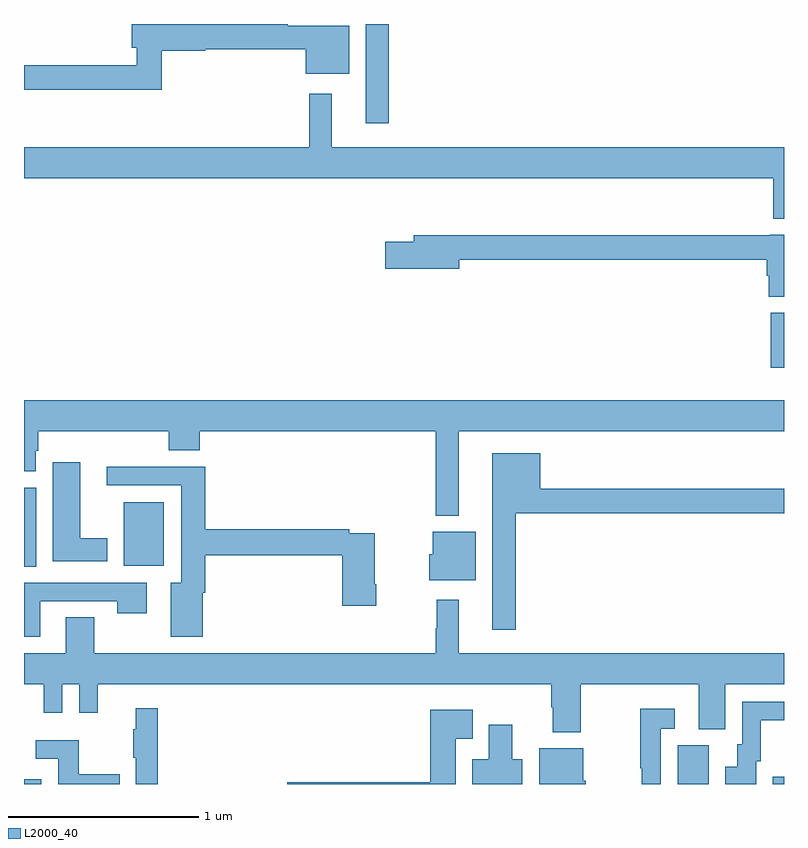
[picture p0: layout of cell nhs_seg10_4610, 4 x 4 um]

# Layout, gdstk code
import gdstk
lib = gdstk.Library(unit=1e-6, precision=1e-09)
def R(c, l, rs):  # rectangles x0, y0, x1, y1
    for r in rs: c.add(gdstk.rectangle(r[:2], r[2:], *l))
def P(c, l, *ps):  # polygons
    for p in ps: c.add(gdstk.Polygon(p, *l))
L2000_40 = (2000, 40)

nhs_seg10_4610 = lib.new_cell('nhs_seg10_4610')
R(nhs_seg10_4610, L2000_40, [(375,1258.5,375.091,1258.525), (378.44,1258.5,378.604,1258.704), (378.942,1258.5,379,1258.537), (375,1259.644,375.064,1260.06), (375.524,1259.648,375.736,1259.983), (378.929,1260.69,379,1260.979), (376.799,1261.977,376.921,1262.5)])
P(nhs_seg10_4610, L2000_40, [(375.725,1262.36),(375.954,1262.36),(375.954,1262.368),(376.484,1262.368),(376.484,1262.237),(376.711,1262.237),(376.711,1262.491),(376.388,1262.491),(376.388,1262.5),(375.566,1262.5),(375.566,1262.375),(375.593,1262.375),(375.593,1262.282),(375,1262.282),(375,1262.154),(375.725,1262.154)],
  [(379,1261.852),(376.621,1261.852),(376.621,1262.134),(376.5,1262.134),(376.5,1261.852),(375,1261.852),(375,1261.688),(378.943,1261.688),(378.943,1261.475),(379,1261.475)],
  [(379,1261.39),(378.924,1261.39),(378.924,1261.387),(377.051,1261.387),(377.051,1261.353),(376.902,1261.353),(376.902,1261.211),(377.29,1261.211),(377.29,1261.258),(378.908,1261.258),(378.908,1261.175),(378.92,1261.175),(378.92,1261.064),(379,1261.064)],
  [(377.287,1260.356),(379,1260.356),(379,1260.52),(375,1260.52),(375,1260.145),(375.061,1260.145),(375.061,1260.255),(375.074,1260.255),(375.074,1260.356),(375.761,1260.356),(375.761,1260.257),(375.926,1260.257),(375.926,1260.356),(377.166,1260.356),(377.166,1259.912),(377.287,1259.912)],
  [(377.587,1259.926),(379,1259.926),(379,1260.055),(377.716,1260.055),(377.716,1260.241),(377.465,1260.241),(377.465,1259.313),(377.587,1259.313)],
  [(375.439,1259.794),(375.295,1259.794),(375.295,1260.193),(375.152,1260.193),(375.152,1259.672),(375.439,1259.672)],
  [(375.94,1259.507),(375.953,1259.507),(375.953,1259.704),(376.676,1259.704),(376.676,1259.439),(376.854,1259.439),(376.854,1259.551),(376.846,1259.551),(376.846,1259.82),(376.712,1259.82),(376.712,1259.84),(375.953,1259.84),(375.953,1260.17),(375.435,1260.17),(375.435,1260.072),(375.827,1260.072),(375.827,1259.56),(375.773,1259.56),(375.773,1259.274),(375.94,1259.274)],
  [(377.377,1259.827),(377.15,1259.827),(377.15,1259.709),(377.132,1259.709),(377.132,1259.573),(377.377,1259.573)],
  [(375.085,1259.463),(375.49,1259.463),(375.49,1259.4),(375.646,1259.4),(375.646,1259.559),(375,1259.559),(375,1259.274),(375.085,1259.274)],
  [(377.931,1259.024),(378.551,1259.024),(378.551,1258.789),(378.691,1258.789),(378.691,1259.024),(379,1259.024),(379,1259.188),(377.287,1259.188),(377.287,1259.47),(377.173,1259.47),(377.173,1259.321),(377.166,1259.321),(377.166,1259.188),(375.369,1259.188),(375.369,1259.378),(375.221,1259.378),(375.221,1259.188),(375,1259.188),(375,1259.024),(375.104,1259.024),(375.104,1258.875),(375.201,1258.875),(375.201,1259.024),(375.291,1259.024),(375.291,1258.875),(375.389,1258.875),(375.389,1259.024),(377.776,1259.024),(377.776,1258.904),(377.783,1258.904),(377.783,1258.772),(377.931,1258.772)],
  [(378.853,1258.62),(378.877,1258.62),(378.877,1258.836),(379,1258.836),(379,1258.932),(378.78,1258.932),(378.78,1258.71),(378.755,1258.71),(378.755,1258.591),(378.692,1258.591),(378.692,1258.5),(378.853,1258.5)],
  [(375.704,1258.9),(375.587,1258.9),(375.587,1258.787),(375.576,1258.787),(375.576,1258.639),(375.588,1258.639),(375.588,1258.5),(375.704,1258.5)],
  [(378.351,1258.791),(378.424,1258.791),(378.424,1258.897),(378.243,1258.897),(378.243,1258.584),(378.25,1258.584),(378.25,1258.5),(378.351,1258.5)],
  [(377.272,1258.739),(377.362,1258.739),(377.362,1258.891),(377.138,1258.891),(377.138,1258.508),(376.385,1258.508),(376.385,1258.5),(377.272,1258.5)],
  [(377.623,1258.63),(377.569,1258.63),(377.569,1258.813),(377.447,1258.813),(377.447,1258.63),(377.36,1258.63),(377.36,1258.5),(377.623,1258.5)],
  [(375.503,1258.551),(375.289,1258.551),(375.289,1258.729),(375.063,1258.729),(375.063,1258.632),(375.18,1258.632),(375.18,1258.5),(375.503,1258.5)],
  [(377.956,1258.518),(377.944,1258.518),(377.944,1258.687),(377.711,1258.687),(377.711,1258.5),(377.956,1258.5)])

lib.write_gds('nhs_seg10_4610.gds')
